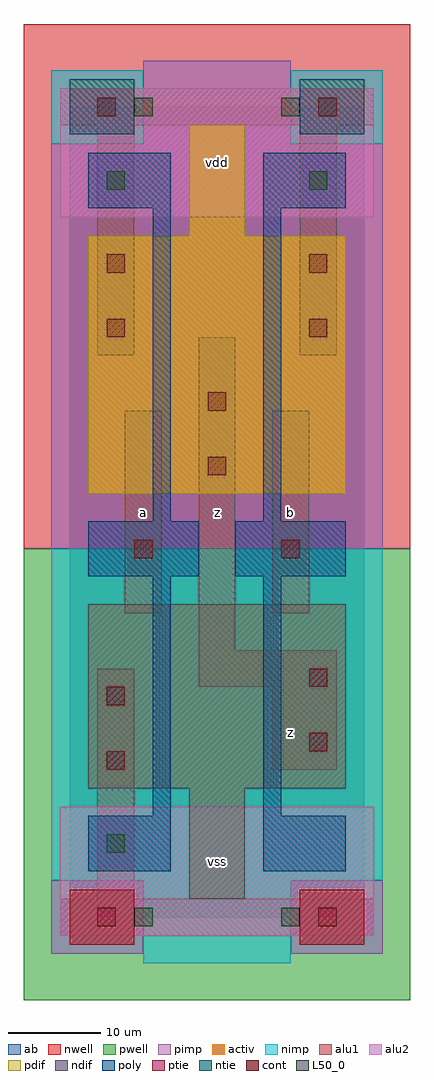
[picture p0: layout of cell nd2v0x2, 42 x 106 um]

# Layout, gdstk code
import gdstk
lib = gdstk.Library(unit=1e-6, precision=1e-09)
def R(c, l, rs):  # rectangles x0, y0, x1, y1
    for r in rs: c.add(gdstk.rectangle(r[:2], r[2:], *l))
ndif = (3, 0)
pdif = (4, 0)
ntie = (5, 0)
ptie = (6, 0)
cont = (25, 0)
pwell = (41, 0)
nwell = (42, 0)
activ = (43, 0)
pimp = (44, 0)
nimp = (45, 0)
poly = (46, 0)
alu1 = (49, 0)
L50_0 = (50, 0)
alu2 = (51, 0)
ab = (63, 0)

nd2v0x2 = lib.new_cell('nd2v0x2')
R(nd2v0x2, ndif, [(13,2,19,14), (2,14,30,34)])
R(nd2v0x2, pdif, [(2,46,30,74), (13,74,19,86)])
R(nd2v0x2, ntie, [(0,85,7,91), (25,85,32,91)])
R(nd2v0x2, ptie, [(0,-3,7,3), (25,-3,32,3)])
R(nd2v0x2, cont, [(3,-1,5,1), (27,-1,29,1), (4,16,6,18), (26,18,28,20), (4,23,6,25), (26,25,28,27), (7,39,9,41), (23,39,25,41), (15,48,17,50), (15,55,17,57), (4,63,6,65), (26,63,28,65), (4,70,6,72), (26,70,28,72), (3,87,5,89), (27,87,29,89)])
R(nd2v0x2, pwell, [(-5,-9,37,40)])
R(nd2v0x2, nwell, [(-5,40,37,97)])
R(nd2v0x2, activ, [(0,-3,7,3), (25,-3,32,3), (13,2,19,14), (2,14,30,34), (2,46,30,74), (13,74,19,86), (0,85,7,91), (25,85,32,91)])
R(nd2v0x2, pimp, [(-2,-4,8,4), (24,-4,34,4), (-2,40,34,84), (8,84,24,93)])
R(nd2v0x2, nimp, [(8,-5,24,4), (-2,4,34,40), (-2,84,8,92), (24,84,34,92)])
R(nd2v0x2, poly, [(2,5,11,11), (21,5,30,11), (9,11,11,37), (21,11,23,37), (2,37,14,43), (18,37,30,43), (9,43,11,77), (21,43,23,77), (2,77,11,83), (21,77,30,83)])
R(nd2v0x2, alu1, [(-1,-2,33,2), (3,2,7,27), (22,16,29,25), (14,25,29,29), (14,29,18,63), (6,33,10,55), (22,33,26,55), (3,61,7,86), (25,61,29,86), (-1,86,33,90)])
R(nd2v0x2, L50_0, [(7,-1,9,1), (23,-1,25,1), (4,7,6,9), (4,79,6,81), (26,79,28,81), (7,87,9,89), (23,87,25,89)])
R(nd2v0x2, alu2, [(-1,-2,33,12), (-1,76,33,90)])
R(nd2v0x2, ab, [(0,0,32,88)])
nd2v0x2.add(gdstk.Label('a', (8,44), layer=49, texttype=0))
nd2v0x2.add(gdstk.Label('z', (16,44), layer=49, texttype=0))
nd2v0x2.add(gdstk.Label('z', (24,20), layer=49, texttype=0))
nd2v0x2.add(gdstk.Label('b', (24,44), layer=49, texttype=0))
nd2v0x2.add(gdstk.Label('vss', (16,6), layer=51, texttype=0))
nd2v0x2.add(gdstk.Label('vdd', (16,82), layer=51, texttype=0))

lib.write_gds('nd2v0x2.gds')
